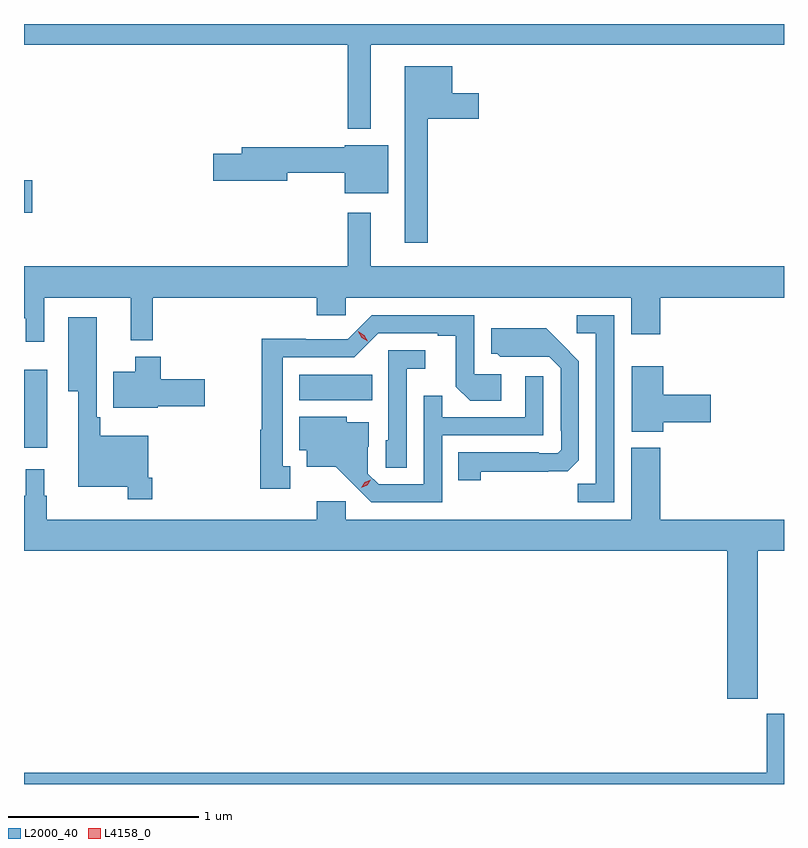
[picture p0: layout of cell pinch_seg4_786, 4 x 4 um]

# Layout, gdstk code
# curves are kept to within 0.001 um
import gdstk
lib = gdstk.Library(unit=1e-6, precision=1e-09)
def R(c, l, rs):  # rectangles x0, y0, x1, y1
    for r in rs: c.add(gdstk.rectangle(r[:2], r[2:], *l))
def P(c, l, *ps):  # polygons
    for p in ps: c.add(gdstk.Polygon(p, *l))
L2000_40 = (2000, 40)
L4158_0 = (4158, 0)

pinch_seg4_786 = lib.new_cell('pinch_seg4_786')
R(pinch_seg4_786, L2000_40, [(794.597,818.675,794.719,819.085), (796.046,818.924,796.43,819.058), (794.597,819.911,794.641,820.082)])
P(pinch_seg4_786, L2000_40, [(796.423,820.796),(798.597,820.796),(798.597,820.904),(794.597,820.904),(794.597,820.796),(796.302,820.796),(796.302,820.352),(796.423,820.352)],
  [(796.723,820.406),(796.99,820.406),(796.99,820.54),(796.852,820.54),(796.852,820.681),(796.601,820.681),(796.601,819.753),(796.723,819.753)],
  [(796.513,820.267),(796.286,820.267),(796.286,820.256),(795.743,820.256),(795.743,820.22),(795.594,820.22),(795.594,820.078),(795.982,820.078),(795.982,820.12),(796.286,820.12),(796.286,820.013),(796.513,820.013)],
  [(794.703,819.464),(795.158,819.464),(795.158,819.239),(795.275,819.239),(795.275,819.464),(796.139,819.464),(796.139,819.371),(796.29,819.371),(796.29,819.464),(797.792,819.464),(797.792,819.27),(797.945,819.27),(797.945,819.464),(798.597,819.464),(798.597,819.628),(796.423,819.628),(796.423,819.91),(796.302,819.91),(796.302,819.628),(794.597,819.628),(794.597,819.356),(794.606,819.356),(794.606,819.231),(794.703,819.231)],
  [(795.997,818.577),(795.958,818.577),(795.958,819.15),(796.335,819.15),(796.461,819.276),(796.775,819.276),(796.775,819.264),(796.869,819.264),(796.869,818.996),(796.945,818.92),(797.11,818.92),(797.11,819.06),(796.968,819.06),(796.968,819.372),(796.428,819.372),(796.302,819.246),(796.08,819.246),(796.08,819.248),(795.847,819.248),(795.847,818.769),(795.84,818.769),(795.84,818.457),(795.997,818.457)],
  [(797.703,819.372),(797.505,819.372),(797.505,819.276),(797.607,819.276),(797.607,818.483),(797.512,818.483),(797.512,818.388),(797.703,818.388)],
  [(795.272,818.515),(795.252,818.515),(795.252,818.737),(794.999,818.737),(794.999,818.833),(794.98,818.833),(794.98,819.361),(794.831,819.361),(794.831,818.972),(794.882,818.972),(794.882,818.468),(795.144,818.468),(795.144,818.403),(795.272,818.403)],
  [(797.001,818.548),(797.458,818.549),(797.517,818.608),(797.517,819.13),(797.345,819.304),(797.057,819.304),(797.057,819.168),(797.088,819.168),(797.104,819.152),(797.361,819.153),(797.421,819.093),(797.421,818.764),(797.424,818.764),(797.424,818.664),(797.406,818.646),(797.306,818.646),(797.306,818.649),(796.882,818.649),(796.882,818.502),(797.001,818.502)],
  [(796.611,819.089),(796.708,819.089),(796.708,819.186),(796.515,819.186),(796.515,818.712),(796.5,818.712),(796.5,818.569),(796.611,818.569)],
  [(795.3,818.891),(795.547,818.891),(795.547,819.033),(795.317,819.033),(795.317,819.154),(795.182,819.154),(795.182,819.073),(795.068,819.073),(795.068,818.885),(795.3,818.885)],
  [(797.962,818.807),(798.211,818.807),(798.211,818.954),(797.962,818.954),(797.962,819.103),(797.795,819.103),(797.795,818.759),(797.962,818.759)],
  [(796.797,818.739),(797.331,818.739),(797.331,819.049),(797.235,819.049),(797.235,818.835),(796.799,818.835),(796.799,818.948),(796.701,818.948),(796.701,818.481),(796.464,818.481),(796.407,818.538),(796.407,818.68),(796.411,818.68),(796.411,818.809),(796.296,818.809),(796.296,818.836),(796.046,818.836),(796.046,818.66),(796.085,818.66),(796.085,818.573),(796.237,818.573),(796.424,818.388),(796.797,818.388)],
  [(798.459,818.132),(798.597,818.132),(798.597,818.296),(797.945,818.296),(797.945,818.674),(797.792,818.674),(797.792,818.296),(796.29,818.296),(796.29,818.392),(796.139,818.392),(796.139,818.296),(794.716,818.296),(794.716,818.42),(794.704,818.42),(794.704,818.56),(794.606,818.56),(794.606,818.42),(794.597,818.42),(794.597,818.132),(798.299,818.132),(798.299,817.353),(798.459,817.353)],
  [(798.597,817.273),(798.506,817.273),(798.506,816.964),(794.597,816.964),(794.597,816.904),(798.597,816.904)])
P(pinch_seg4_786, L4158_0, [(796.373,818.463),(796.373,818.463),(796.391,818.492),(796.422,818.506),(796.422,818.506),(796.422,818.506),(796.404,818.477),(796.373,818.463)],
  [(796.406,819.234),(796.374,819.253),(796.356,819.285),(796.356,819.286),(796.356,819.286),(796.388,819.267),(796.406,819.235),(796.406,819.234)])

lib.write_gds('pinch_seg4_786.gds')
